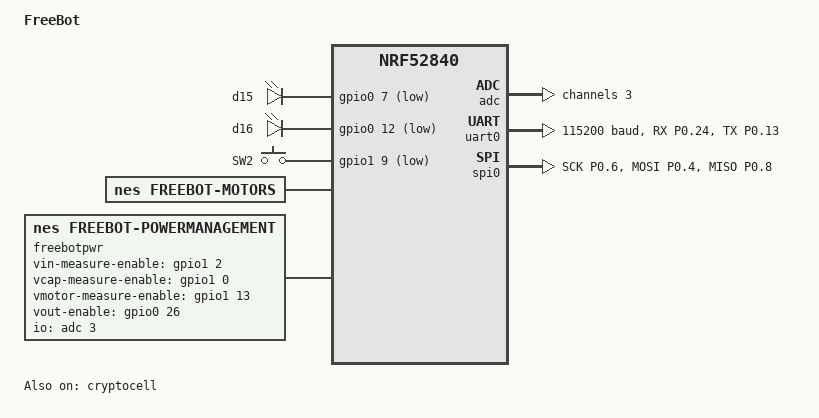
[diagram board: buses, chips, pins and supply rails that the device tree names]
// Copyright (c) 2024 Nordic Semiconductor ASA
// SPDX-License-Identifier: Apache-2.0

/dts-v1/;
#include <nordic/nrf52840_qiaa.dtsi>

/ {
    model = "FreeBot";
    compatible = "nes,freebot-nrf52840";

    chosen {
        zephyr,console = &uart0;
        zephyr,shell-uart = &uart0;
        zephyr,sram = &sram0;
        zephyr,flash = &flash0;
        zephyr,code-partition = &slot0_partition;
    };

    leds {
        compatible = "gpio-leds";
        d15: led_0 {
            gpios = <&gpio0 7 GPIO_ACTIVE_LOW>;
        };
        d16: led_1 {
            gpios = <&gpio0 12 GPIO_ACTIVE_LOW>;
        };
    };

    buttons {
        compatible = "gpio-keys";
        sw2: button_0 {
            gpios = <&gpio1 9 GPIO_ACTIVE_LOW>;
            label = "SW2";
            zephyr,code = <INPUT_KEY_0>;
        };
    };

    motors {
        compatible = "nes,freebot-motors";
        m1: motor1 {
            in-a-gpios = <&gpio0 9 GPIO_ACTIVE_HIGH>;
            in-b-gpios = <&gpio0 10 GPIO_ACTIVE_HIGH>;
            hall-c1-gpios = <&gpio1 4 0>;
            hall-c2-gpios = <&gpio1 6 0>;
        };
        m2: motor2 {
            in-a-gpios = <&gpio0 15 GPIO_ACTIVE_HIGH>;
            in-b-gpios = <&gpio0 17 GPIO_ACTIVE_HIGH>;
            hall-c1-gpios = <&gpio0 20 0>;
            hall-c2-gpios = <&gpio0 22 0>;
        };
        m3: motor3 {
            in-a-gpios = <&gpio1 10 GPIO_ACTIVE_HIGH>;
            in-b-gpios = <&gpio1 11 GPIO_ACTIVE_HIGH>;
            hall-c1-gpios = <&gpio0 2 0>;
            hall-c2-gpios = <&gpio0 3 0>;
        };
        m4: motor4 {
            in-a-gpios = <&gpio0 30 GPIO_ACTIVE_HIGH>;
            in-b-gpios = <&gpio0 31 GPIO_ACTIVE_HIGH>;
            hall-c1-gpios = <&gpio0 28 0>;
            hall-c2-gpios = <&gpio0 29 0>;
        };
    };

    freebotpwr {
        compatible = "nes,freebot-powermanagement";
        io-channels = <&adc 3>;
        vin-measure-enable-gpios = <&gpio1 2 GPIO_ACTIVE_HIGH>;
        vcap-measure-enable-gpios = <&gpio1 0 GPIO_ACTIVE_HIGH>;
        vmotor-measure-enable-gpios = <&gpio1 13 GPIO_ACTIVE_HIGH>;
        vout-enable-gpios = <&gpio0 26 GPIO_ACTIVE_HIGH>;
    };
};

&uicr {
    nfct-pins-as-gpios;
};

&gpiote {
    status = "okay";
};

&gpio0 {
    status = "okay";
};

&gpio1 {
    status = "okay";
};

&adc {
    #address-cells = <1>;
    #size-cells = <0>;
    status = "okay";

    channel@3 {
        reg = <3>;
        zephyr,gain = "ADC_GAIN_4"; /* nRF52840 DOCS: ΔVmeasure = Vref / GAIN */
        zephyr,reference = "ADC_REF_INTERNAL"; /* nRF52840 DOCS: Internal Vref = 600mV */
        zephyr,acquisition-time = <ADC_ACQ_TIME(ADC_ACQ_TIME_MICROSECONDS, 40)>; /* nRF52840 DOCS: input R > 400k => 40ms */
        zephyr,input-positive = <NRF_SAADC_AIN3>; /* P0.05 */
        zephyr,resolution = <14>;
    };

};

&uart0 {
    compatible = "nordic,nrf-uarte";
    status = "okay";
    current-speed = <115200>;
    pinctrl-0 = <&uart0_default>;
    pinctrl-1 = <&uart0_sleep>;
    pinctrl-names = "default", "sleep";
};

&spi0 {
    compatible = "nordic,nrf-spi";
    status = "okay";
    pinctrl-0 = <&spi0_default>;
    pinctrl-1 = <&spi0_sleep>;
    pinctrl-names = "default", "sleep";
};

&flash0 {
    partitions {
        compatible = "fixed-partitions";
        #address-cells = <1>;
        #size-cells = <1>;

        boot_partition: partition@0 {
            label = "mcuboot";
            reg = <0x0 0xc000>;
        };
        slot0_partition: partition@c000 {
            label = "image-0";
            reg = <0xc000 0x72000>;
        };
        slot1_partition: partition@7e000 {
            label = "image-1";
            reg = <0x7e000 0x72000>;
        };
        scratch_partition: partition@f0000 {
            label = "image-scratch";
            reg = <0xf0000 0xa000>;
        };
        storage_partition: partition@fa000 {
            label = "storage";
            reg = <0xfa000 0x6000>;
        };
    };
};

&pinctrl {
    uart0_default: uart0_default {
        group1 {
            // psels = <NRF_PSEL(UART_RX, 0, 13)>;
            psels = <NRF_PSEL(UART_RX, 0, 24)>;
            bias-pull-up;
        };
        group2 {
            // psels = <NRF_PSEL(UART_TX, 0, 24)>;
            psels = <NRF_PSEL(UART_TX, 0, 13)>;
        };
    };
    uart0_sleep: uart0_sleep {
        group1 {
            psels = <NRF_PSEL(UART_RX, 0, 13)>,
                    <NRF_PSEL(UART_TX, 0, 24)>;
            low-power-enable;
        };
    };

    spi0_default: spi0_default {
        group1 {
            psels = <NRF_PSEL(SPIM_SCK, 0, 6)>,
                    <NRF_PSEL(SPIM_MOSI, 0, 4)>,
                    <NRF_PSEL(SPIM_MISO, 0, 8)>;
        };
    };
    spi0_sleep: spi0_sleep {
        group1 {
            psels = <NRF_PSEL(SPIM_SCK, 0, 6)>,
                    <NRF_PSEL(SPIM_MOSI, 0, 4)>,
                    <NRF_PSEL(SPIM_MISO, 0, 8)>;
            low-power-enable;
        };
    };
};

&nfct {
	status = "disabled";
};

&power {
	status = "disabled";
};

&temp {
	status = "disabled";
};

&cryptocell {
	status = "okay";
};

&ecb {
	status = "disabled";
};

&ccm {
	status = "disabled";
};

&acl {
	status = "disabled";
};
